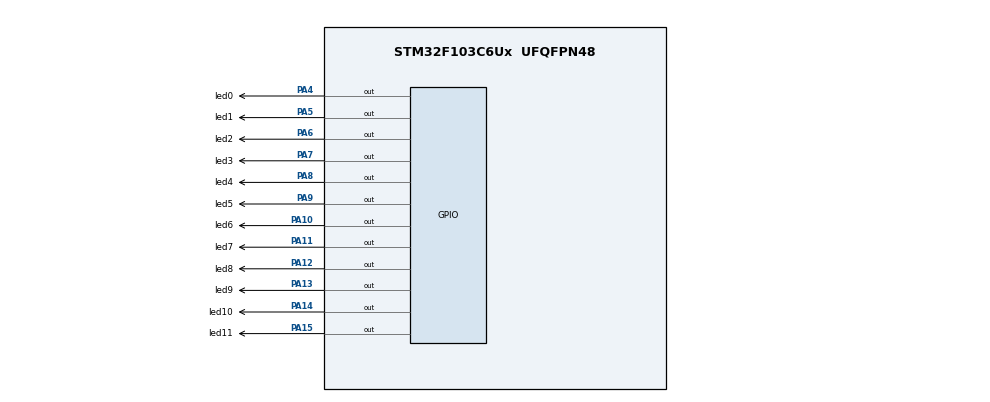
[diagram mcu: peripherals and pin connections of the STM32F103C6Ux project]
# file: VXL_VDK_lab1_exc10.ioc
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Mcu.Family=STM32F1
Mcu.Name=STM32F103C6Ux
Mcu.Package=UFQFPN48
NVIC.PriorityGroup=NVIC_PRIORITYGROUP_4
PA10.GPIO_Label=led6
PA10.Signal=GPIO_Output
PA11.GPIO_Label=led7
PA11.Signal=GPIO_Output
PA12.GPIO_Label=led8
PA12.Signal=GPIO_Output
PA13.GPIO_Label=led9
PA13.Signal=GPIO_Output
PA14.GPIO_Label=led10
PA14.Signal=GPIO_Output
PA15.GPIO_Label=led11
PA15.Signal=GPIO_Output
PA4.GPIO_Label=led0
PA4.Signal=GPIO_Output
PA5.GPIO_Label=led1
PA5.Signal=GPIO_Output
PA6.GPIO_Label=led2
PA6.Signal=GPIO_Output
PA7.GPIO_Label=led3
PA7.Signal=GPIO_Output
PA8.GPIO_Label=led4
PA8.Signal=GPIO_Output
PA9.GPIO_Label=led5
PA9.Signal=GPIO_Output
ProjectManager.HeapSize=0x200
ProjectManager.StackSize=0x400
ProjectManager.TargetToolchain=STM32CubeIDE
RCC.APB1Freq_Value=8000000
RCC.APB2Freq_Value=8000000
board=custom

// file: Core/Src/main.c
/* USER CODE BEGIN Header */
/**
  ******************************************************************************
  * @file           : main.c
  * @brief          : Main program body
  ******************************************************************************
  * @attention
  *
  * Copyright (c) 2025 STMicroelectronics.
  * All rights reserved.
  *
  * This software is licensed under terms that can be found in the LICENSE file
  * in the root directory of this software component.
  * If no LICENSE file comes with this software, it is provided AS-IS.
  *
  ******************************************************************************
  */
/* USER CODE END Header */
#include "main.h"

/* USER CODE BEGIN PV */
GPIO_TypeDef* LED_PORT = GPIOA;

uint16_t LED_PINS[12] = {
    led0_Pin,
    led1_Pin,
    led2_Pin,
    led3_Pin,
    led4_Pin,
    led5_Pin,
    led6_Pin,
    led7_Pin,
    led8_Pin,
    led9_Pin,
    led10_Pin,
    led11_Pin
};
/* USER CODE END PV */

void SystemClock_Config(void);
static void MX_GPIO_Init(void);
/* USER CODE BEGIN PFP */
void clearAllClock();
void setNumberOnClock(int num);
void clearNumberOnClock(int num);
/* USER CODE END PFP */

/* USER CODE BEGIN 0 */
void clearAllClock(){
	HAL_GPIO_WritePin(led0_GPIO_Port, led0_Pin, SET);
	HAL_GPIO_WritePin(led1_GPIO_Port, led1_Pin, SET);
	HAL_GPIO_WritePin(led2_GPIO_Port, led2_Pin, SET);
	HAL_GPIO_WritePin(led3_GPIO_Port, led3_Pin, SET);
	HAL_GPIO_WritePin(led4_GPIO_Port, led4_Pin, SET);
	HAL_GPIO_WritePin(led5_GPIO_Port, led5_Pin, SET);
	HAL_GPIO_WritePin(led6_GPIO_Port, led6_Pin, SET);
	HAL_GPIO_WritePin(led7_GPIO_Port, led7_Pin, SET);
	HAL_GPIO_WritePin(led8_GPIO_Port, led8_Pin, SET);
	HAL_GPIO_WritePin(led9_GPIO_Port, led9_Pin, SET);
	HAL_GPIO_WritePin(led10_GPIO_Port, led10_Pin, SET);
	HAL_GPIO_WritePin(led11_GPIO_Port, led11_Pin, SET);

 }
void setNumberOnClock(int num) {
    if (num >= 0 && num < 12) {
        HAL_GPIO_WritePin(LED_PORT, LED_PINS[num], RESET);
    }
}
void clearNumberOnClock(int num) {
    if (num >= 0 && num < 12) {
        HAL_GPIO_WritePin(LED_PORT, LED_PINS[num], SET);
    }
}

/* USER CODE END 0 */

int main(void)
{

  /* MCU Configuration--------------------------------------------------------*/

  /* Reset of all peripherals, Initializes the Flash interface and the Systick. */
  HAL_Init();

  /* Configure the system clock */
  SystemClock_Config();

  /* Initialize all configured peripherals */
  MX_GPIO_Init();
  /* USER CODE BEGIN 2 */
  int sec_cnt = 0;
  int min_cnt = 50*60 +sec_cnt;
  uint32_t hour_cnt = 6*3600 + min_cnt;
  clearAllClock();
  /* USER CODE END 2 */

  /* Infinite loop */
  /* USER CODE BEGIN WHILE */
  while (1)
  {
	  ++sec_cnt;
	  ++min_cnt;
	  ++hour_cnt;
	  if(sec_cnt>59) sec_cnt =0;
	  if(min_cnt>3599) min_cnt =0;
	  if(hour_cnt>43199) hour_cnt=0;
	  clearAllClock();
	  setNumberOnClock(sec_cnt/5);
	  setNumberOnClock(min_cnt/300);
	  setNumberOnClock(hour_cnt/3600);
	  HAL_Delay(20);
    /* USER CODE END WHILE */

  }
}

void SystemClock_Config(void)
{
  RCC_OscInitTypeDef RCC_OscInitStruct = {0};
  RCC_ClkInitTypeDef RCC_ClkInitStruct = {0};

  /** Initializes the RCC Oscillators according to the specified parameters
  * in the RCC_OscInitTypeDef structure.
  */
  RCC_OscInitStruct.OscillatorType = RCC_OSCILLATORTYPE_HSI;
  RCC_OscInitStruct.HSIState = RCC_HSI_ON;
  RCC_OscInitStruct.HSICalibrationValue = RCC_HSICALIBRATION_DEFAULT;
  RCC_OscInitStruct.PLL.PLLState = RCC_PLL_NONE;
  if (HAL_RCC_OscConfig(&RCC_OscInitStruct) != HAL_OK)
  {
    Error_Handler();
  }

  /** Initializes the CPU, AHB and APB buses clocks
  */
  RCC_ClkInitStruct.ClockType = RCC_CLOCKTYPE_HCLK|RCC_CLOCKTYPE_SYSCLK
                              |RCC_CLOCKTYPE_PCLK1|RCC_CLOCKTYPE_PCLK2;
  RCC_ClkInitStruct.SYSCLKSource = RCC_SYSCLKSOURCE_HSI;
  RCC_ClkInitStruct.AHBCLKDivider = RCC_SYSCLK_DIV1;
  RCC_ClkInitStruct.APB1CLKDivider = RCC_HCLK_DIV1;
  RCC_ClkInitStruct.APB2CLKDivider = RCC_HCLK_DIV1;

  if (HAL_RCC_ClockConfig(&RCC_ClkInitStruct, FLASH_LATENCY_0) != HAL_OK)
  {
    Error_Handler();
  }
}

static void MX_GPIO_Init(void)
{
  GPIO_InitTypeDef GPIO_InitStruct = {0};

  /* GPIO Ports Clock Enable */
  __HAL_RCC_GPIOA_CLK_ENABLE();

  /*Configure GPIO pin Output Level */
  HAL_GPIO_WritePin(GPIOA, led0_Pin|led1_Pin|led2_Pin|led3_Pin
                          |led4_Pin|led5_Pin|led6_Pin|led7_Pin
                          |led8_Pin|led9_Pin|led10_Pin|led11_Pin, GPIO_PIN_RESET);

  /*Configure GPIO pins : led0_Pin led1_Pin led2_Pin led3_Pin
                           led4_Pin led5_Pin led6_Pin led7_Pin
                           led8_Pin led9_Pin led10_Pin led11_Pin */
  GPIO_InitStruct.Pin = led0_Pin|led1_Pin|led2_Pin|led3_Pin
                          |led4_Pin|led5_Pin|led6_Pin|led7_Pin
                          |led8_Pin|led9_Pin|led10_Pin|led11_Pin;
  GPIO_InitStruct.Mode = GPIO_MODE_OUTPUT_PP;
  GPIO_InitStruct.Pull = GPIO_NOPULL;
  GPIO_InitStruct.Speed = GPIO_SPEED_FREQ_LOW;
  HAL_GPIO_Init(GPIOA, &GPIO_InitStruct);

}

void Error_Handler(void)
{
  __disable_irq();
  while (1)
  {
  }
}
